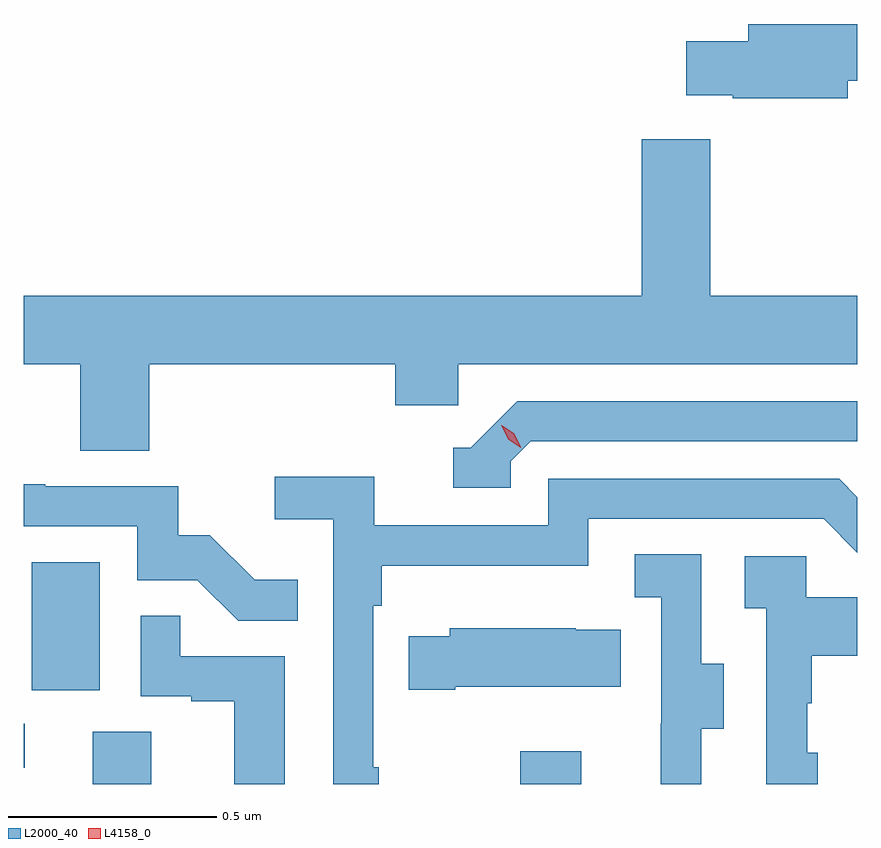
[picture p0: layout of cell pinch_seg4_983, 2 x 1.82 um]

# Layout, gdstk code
import gdstk
lib = gdstk.Library(unit=1e-6, precision=1e-09)
def R(c, l, rs):  # rectangles x0, y0, x1, y1
    for r in rs: c.add(gdstk.rectangle(r[:2], r[2:], *l))
def P(c, l, *ps):  # polygons
    for p in ps: c.add(gdstk.Polygon(p, *l))
L2000_40 = (2000, 40)
L4158_0 = (4158, 0)

pinch_seg4_983 = lib.new_cell('pinch_seg4_983')
R(pinch_seg4_983, L2000_40, [(858.995,774.501,859.135,774.626), (860.02,774.501,860.167,774.58), (858.829,774.54,858.832,774.645), (858.848,774.726,859.012,775.033)])
P(pinch_seg4_983, L2000_40, [(860.806,776.188),(860.829,776.188),(860.829,776.324),(860.567,776.324),(860.567,776.283),(860.418,776.283),(860.418,776.153),(860.53,776.153),(860.53,776.146),(860.806,776.146)],
  [(859.13,775.508),(859.721,775.508),(859.721,775.41),(859.872,775.41),(859.872,775.508),(860.829,775.508),(860.829,775.672),(860.476,775.672),(860.476,776.047),(860.312,776.047),(860.312,775.672),(858.829,775.672),(858.829,775.508),(858.965,775.508),(858.965,775.3),(859.13,775.3)],
  [(859.998,775.275),(860.046,775.323),(860.829,775.323),(860.829,775.419),(860.013,775.419),(859.902,775.308),(859.859,775.308),(859.859,775.212),(859.998,775.212)],
  [(859.681,774.541),(859.668,774.541),(859.668,774.929),(859.688,774.929),(859.688,775.025),(860.184,775.025),(860.184,775.137),(860.748,775.137),(860.829,775.056),(860.829,775.189),(860.785,775.233),(860.088,775.233),(860.088,775.122),(859.67,775.122),(859.67,775.238),(859.431,775.238),(859.431,775.136),(859.572,775.136),(859.572,774.501),(859.681,774.501)],
  [(859.487,774.991),(859.383,774.991),(859.276,775.098),(859.2,775.098),(859.2,775.215),(858.881,775.215),(858.881,775.22),(858.829,775.22),(858.829,775.119),(859.101,775.119),(859.101,774.99),(859.246,774.99),(859.344,774.892),(859.487,774.892)],
  [(860.455,774.634),(860.509,774.634),(860.509,774.789),(860.454,774.789),(860.454,775.052),(860.295,775.052),(860.295,774.949),(860.358,774.949),(860.358,774.645),(860.357,774.645),(860.357,774.501),(860.455,774.501)],
  [(860.734,774.576),(860.709,774.576),(860.709,774.695),(860.719,774.695),(860.719,774.809),(860.829,774.809),(860.829,774.949),(860.706,774.949),(860.706,775.047),(860.559,775.047),(860.559,774.923),(860.61,774.923),(860.61,774.501),(860.734,774.501)],
  [(859.456,774.807),(859.205,774.807),(859.205,774.905),(859.11,774.905),(859.11,774.711),(859.231,774.711),(859.231,774.699),(859.334,774.699),(859.334,774.501),(859.456,774.501)],
  [(859.864,774.734),(860.261,774.734),(860.261,774.871),(860.153,774.871),(860.153,774.874),(859.851,774.874),(859.851,774.856),(859.753,774.856),(859.753,774.727),(859.864,774.727)])
P(pinch_seg4_983, L4158_0, [(860.021,775.308),(859.991,775.328),(859.975,775.361),(859.975,775.362),(859.976,775.362),(860.006,775.341),(860.022,775.309),(860.022,775.308)])

lib.write_gds('pinch_seg4_983.gds')
